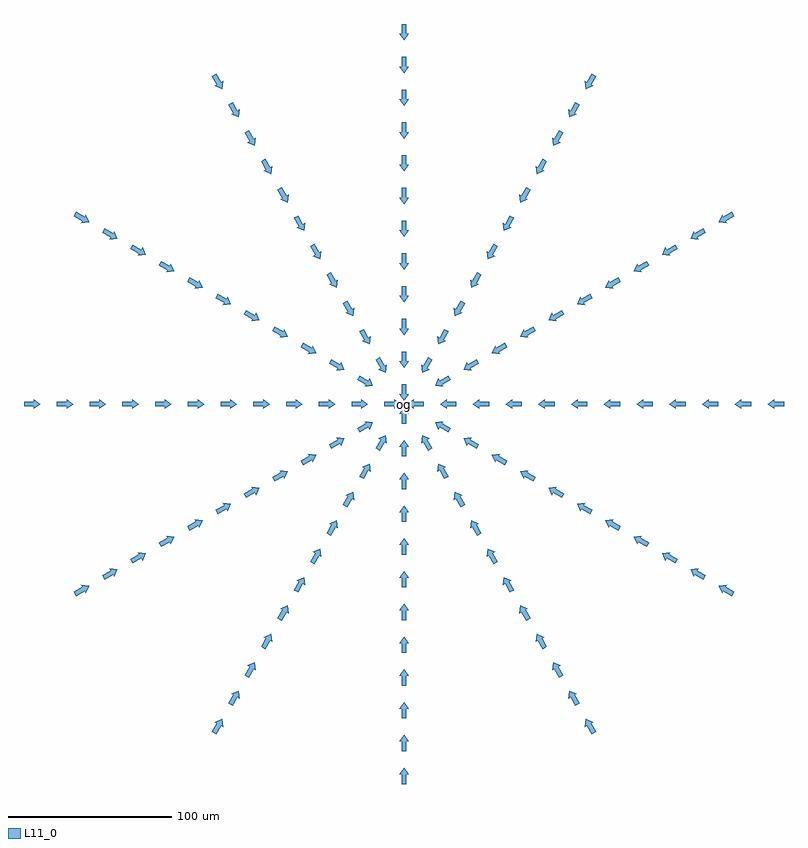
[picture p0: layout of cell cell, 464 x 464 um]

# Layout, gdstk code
import gdstk
lib = gdstk.Library(unit=1e-6, precision=1e-09)
def R(c, l, rs):  # rectangles x0, y0, x1, y1
    for r in rs: c.add(gdstk.rectangle(r[:2], r[2:], *l))
def P(c, l, *ps):  # polygons
    for p in ps: c.add(gdstk.Polygon(p, *l))
L11_0 = (11, 0)

cell = lib.new_cell('cell')
R(cell, L11_0, [(-1,-1,0,0), (0,0,1,1)])
P(cell, L11_0, [(2,0),(6,3),(6,1.5),(12,1.5),(12,-1.5),(6,-1.5),(6,-3)],
  [(0,2),(-3,6),(-1.5,6),(-1.5,12),(1.5,12),(1.5,6),(3,6)],
  [(-2,0),(-6,-3),(-6,-1.5),(-12,-1.5),(-12,1.5),(-6,1.5),(-6,3)],
  [(0,-2),(3,-6),(1.5,-6),(1.5,-12),(-1.5,-12),(-1.5,-6),(-3,-6)],
  [(22,0),(26,3),(26,1.5),(32,1.5),(32,-1.5),(26,-1.5),(26,-3)],
  [(19.053,11),(21.017,15.598),(21.767,14.299),(26.963,17.299),(28.463,14.701),(23.267,11.701),(24.017,10.402)],
  [(11,19.053),(10.402,24.017),(11.701,23.267),(14.701,28.463),(17.299,26.963),(14.299,21.767),(15.598,21.017)],
  [(0,22),(-3,26),(-1.5,26),(-1.5,32),(1.5,32),(1.5,26),(3,26)],
  [(-11,19.053),(-15.598,21.017),(-14.299,21.767),(-17.299,26.963),(-14.701,28.463),(-11.701,23.267),(-10.402,24.017)],
  [(-19.053,11),(-24.017,10.402),(-23.267,11.701),(-28.463,14.701),(-26.963,17.299),(-21.767,14.299),(-21.017,15.598)],
  [(-22,0),(-26,-3),(-26,-1.5),(-32,-1.5),(-32,1.5),(-26,1.5),(-26,3)],
  [(-19.053,-11),(-21.017,-15.598),(-21.767,-14.299),(-26.963,-17.299),(-28.463,-14.701),(-23.267,-11.701),(-24.017,-10.402)],
  [(-11,-19.053),(-10.402,-24.017),(-11.701,-23.267),(-14.701,-28.463),(-17.299,-26.963),(-14.299,-21.767),(-15.598,-21.017)],
  [(0,-22),(3,-26),(1.5,-26),(1.5,-32),(-1.5,-32),(-1.5,-26),(-3,-26)],
  [(11,-19.053),(15.598,-21.017),(14.299,-21.767),(17.299,-26.963),(14.701,-28.463),(11.701,-23.267),(10.402,-24.017)],
  [(19.053,-11),(24.017,-10.402),(23.267,-11.701),(28.463,-14.701),(26.963,-17.299),(21.767,-14.299),(21.017,-15.598)],
  [(42,0),(46,3),(46,1.5),(52,1.5),(52,-1.5),(46,-1.5),(46,-3)],
  [(36.373,21),(38.337,25.598),(39.087,24.299),(44.283,27.299),(45.783,24.701),(40.587,21.701),(41.337,20.402)],
  [(21,36.373),(20.402,41.337),(21.701,40.587),(24.701,45.783),(27.299,44.283),(24.299,39.087),(25.598,38.337)],
  [(0,42),(-3,46),(-1.5,46),(-1.5,52),(1.5,52),(1.5,46),(3,46)],
  [(-21,36.373),(-25.598,38.337),(-24.299,39.087),(-27.299,44.283),(-24.701,45.783),(-21.701,40.587),(-20.402,41.337)],
  [(-36.373,21),(-41.337,20.402),(-40.587,21.701),(-45.783,24.701),(-44.283,27.299),(-39.087,24.299),(-38.337,25.598)],
  [(-42,0),(-46,-3),(-46,-1.5),(-52,-1.5),(-52,1.5),(-46,1.5),(-46,3)],
  [(-36.373,-21),(-38.337,-25.598),(-39.087,-24.299),(-44.283,-27.299),(-45.783,-24.701),(-40.587,-21.701),(-41.337,-20.402)],
  [(-21,-36.373),(-20.402,-41.337),(-21.701,-40.587),(-24.701,-45.783),(-27.299,-44.283),(-24.299,-39.087),(-25.598,-38.337)],
  [(0,-42),(3,-46),(1.5,-46),(1.5,-52),(-1.5,-52),(-1.5,-46),(-3,-46)],
  [(21,-36.373),(25.598,-38.337),(24.299,-39.087),(27.299,-44.283),(24.701,-45.783),(21.701,-40.587),(20.402,-41.337)],
  [(36.373,-21),(41.337,-20.402),(40.587,-21.701),(45.783,-24.701),(44.283,-27.299),(39.087,-24.299),(38.337,-25.598)],
  [(62,0),(66,3),(66,1.5),(72,1.5),(72,-1.5),(66,-1.5),(66,-3)],
  [(53.694,31),(55.658,35.598),(56.408,34.299),(61.604,37.299),(63.104,34.701),(57.908,31.701),(58.658,30.402)],
  [(31,53.694),(30.402,58.658),(31.701,57.908),(34.701,63.104),(37.299,61.604),(34.299,56.408),(35.598,55.658)],
  [(0,62),(-3,66),(-1.5,66),(-1.5,72),(1.5,72),(1.5,66),(3,66)],
  [(-31,53.694),(-35.598,55.658),(-34.299,56.408),(-37.299,61.604),(-34.701,63.104),(-31.701,57.908),(-30.402,58.658)],
  [(-53.694,31),(-58.658,30.402),(-57.908,31.701),(-63.104,34.701),(-61.604,37.299),(-56.408,34.299),(-55.658,35.598)],
  [(-62,0),(-66,-3),(-66,-1.5),(-72,-1.5),(-72,1.5),(-66,1.5),(-66,3)],
  [(-53.694,-31),(-55.658,-35.598),(-56.408,-34.299),(-61.604,-37.299),(-63.104,-34.701),(-57.908,-31.701),(-58.658,-30.402)],
  [(-31,-53.694),(-30.402,-58.658),(-31.701,-57.908),(-34.701,-63.104),(-37.299,-61.604),(-34.299,-56.408),(-35.598,-55.658)],
  [(0,-62),(3,-66),(1.5,-66),(1.5,-72),(-1.5,-72),(-1.5,-66),(-3,-66)],
  [(31,-53.694),(35.598,-55.658),(34.299,-56.408),(37.299,-61.604),(34.701,-63.104),(31.701,-57.908),(30.402,-58.658)],
  [(53.694,-31),(58.658,-30.402),(57.908,-31.701),(63.104,-34.701),(61.604,-37.299),(56.408,-34.299),(55.658,-35.598)],
  [(82,0),(86,3),(86,1.5),(92,1.5),(92,-1.5),(86,-1.5),(86,-3)],
  [(71.014,41),(72.978,45.598),(73.728,44.299),(78.924,47.299),(80.424,44.701),(75.228,41.701),(75.978,40.402)],
  [(41,71.014),(40.402,75.978),(41.701,75.228),(44.701,80.424),(47.299,78.924),(44.299,73.728),(45.598,72.978)],
  [(0,82),(-3,86),(-1.5,86),(-1.5,92),(1.5,92),(1.5,86),(3,86)],
  [(-41,71.014),(-45.598,72.978),(-44.299,73.728),(-47.299,78.924),(-44.701,80.424),(-41.701,75.228),(-40.402,75.978)],
  [(-71.014,41),(-75.978,40.402),(-75.228,41.701),(-80.424,44.701),(-78.924,47.299),(-73.728,44.299),(-72.978,45.598)],
  [(-82,0),(-86,-3),(-86,-1.5),(-92,-1.5),(-92,1.5),(-86,1.5),(-86,3)],
  [(-71.014,-41),(-72.978,-45.598),(-73.728,-44.299),(-78.924,-47.299),(-80.424,-44.701),(-75.228,-41.701),(-75.978,-40.402)],
  [(-41,-71.014),(-40.402,-75.978),(-41.701,-75.228),(-44.701,-80.424),(-47.299,-78.924),(-44.299,-73.728),(-45.598,-72.978)],
  [(0,-82),(3,-86),(1.5,-86),(1.5,-92),(-1.5,-92),(-1.5,-86),(-3,-86)],
  [(41,-71.014),(45.598,-72.978),(44.299,-73.728),(47.299,-78.924),(44.701,-80.424),(41.701,-75.228),(40.402,-75.978)],
  [(71.014,-41),(75.978,-40.402),(75.228,-41.701),(80.424,-44.701),(78.924,-47.299),(73.728,-44.299),(72.978,-45.598)],
  [(102,0),(106,3),(106,1.5),(112,1.5),(112,-1.5),(106,-1.5),(106,-3)],
  [(88.335,51),(90.299,55.598),(91.049,54.299),(96.245,57.299),(97.745,54.701),(92.549,51.701),(93.299,50.402)],
  [(51,88.335),(50.402,93.299),(51.701,92.549),(54.701,97.745),(57.299,96.245),(54.299,91.049),(55.598,90.299)],
  [(0,102),(-3,106),(-1.5,106),(-1.5,112),(1.5,112),(1.5,106),(3,106)],
  [(-51,88.335),(-55.598,90.299),(-54.299,91.049),(-57.299,96.245),(-54.701,97.745),(-51.701,92.549),(-50.402,93.299)],
  [(-88.335,51),(-93.299,50.402),(-92.549,51.701),(-97.745,54.701),(-96.245,57.299),(-91.049,54.299),(-90.299,55.598)],
  [(-102,0),(-106,-3),(-106,-1.5),(-112,-1.5),(-112,1.5),(-106,1.5),(-106,3)],
  [(-88.335,-51),(-90.299,-55.598),(-91.049,-54.299),(-96.245,-57.299),(-97.745,-54.701),(-92.549,-51.701),(-93.299,-50.402)],
  [(-51,-88.335),(-50.402,-93.299),(-51.701,-92.549),(-54.701,-97.745),(-57.299,-96.245),(-54.299,-91.049),(-55.598,-90.299)],
  [(0,-102),(3,-106),(1.5,-106),(1.5,-112),(-1.5,-112),(-1.5,-106),(-3,-106)],
  [(51,-88.335),(55.598,-90.299),(54.299,-91.049),(57.299,-96.245),(54.701,-97.745),(51.701,-92.549),(50.402,-93.299)],
  [(88.335,-51),(93.299,-50.402),(92.549,-51.701),(97.745,-54.701),(96.245,-57.299),(91.049,-54.299),(90.299,-55.598)],
  [(122,0),(126,3),(126,1.5),(132,1.5),(132,-1.5),(126,-1.5),(126,-3)],
  [(105.655,61),(107.619,65.598),(108.369,64.299),(113.565,67.299),(115.065,64.701),(109.869,61.701),(110.619,60.402)],
  [(61,105.655),(60.402,110.619),(61.701,109.869),(64.701,115.065),(67.299,113.565),(64.299,108.369),(65.598,107.619)],
  [(0,122),(-3,126),(-1.5,126),(-1.5,132),(1.5,132),(1.5,126),(3,126)],
  [(-61,105.655),(-65.598,107.619),(-64.299,108.369),(-67.299,113.565),(-64.701,115.065),(-61.701,109.869),(-60.402,110.619)],
  [(-105.655,61),(-110.619,60.402),(-109.869,61.701),(-115.065,64.701),(-113.565,67.299),(-108.369,64.299),(-107.619,65.598)],
  [(-122,0),(-126,-3),(-126,-1.5),(-132,-1.5),(-132,1.5),(-126,1.5),(-126,3)],
  [(-105.655,-61),(-107.619,-65.598),(-108.369,-64.299),(-113.565,-67.299),(-115.065,-64.701),(-109.869,-61.701),(-110.619,-60.402)],
  [(-61,-105.655),(-60.402,-110.619),(-61.701,-109.869),(-64.701,-115.065),(-67.299,-113.565),(-64.299,-108.369),(-65.598,-107.619)],
  [(0,-122),(3,-126),(1.5,-126),(1.5,-132),(-1.5,-132),(-1.5,-126),(-3,-126)],
  [(61,-105.655),(65.598,-107.619),(64.299,-108.369),(67.299,-113.565),(64.701,-115.065),(61.701,-109.869),(60.402,-110.619)],
  [(105.655,-61),(110.619,-60.402),(109.869,-61.701),(115.065,-64.701),(113.565,-67.299),(108.369,-64.299),(107.619,-65.598)],
  [(142,0),(146,3),(146,1.5),(152,1.5),(152,-1.5),(146,-1.5),(146,-3)],
  [(122.976,71),(124.94,75.598),(125.69,74.299),(130.886,77.299),(132.386,74.701),(127.19,71.701),(127.94,70.402)],
  [(71,122.976),(70.402,127.94),(71.701,127.19),(74.701,132.386),(77.299,130.886),(74.299,125.69),(75.598,124.94)],
  [(0,142),(-3,146),(-1.5,146),(-1.5,152),(1.5,152),(1.5,146),(3,146)],
  [(-71,122.976),(-75.598,124.94),(-74.299,125.69),(-77.299,130.886),(-74.701,132.386),(-71.701,127.19),(-70.402,127.94)],
  [(-122.976,71),(-127.94,70.402),(-127.19,71.701),(-132.386,74.701),(-130.886,77.299),(-125.69,74.299),(-124.94,75.598)],
  [(-142,0),(-146,-3),(-146,-1.5),(-152,-1.5),(-152,1.5),(-146,1.5),(-146,3)],
  [(-122.976,-71),(-124.94,-75.598),(-125.69,-74.299),(-130.886,-77.299),(-132.386,-74.701),(-127.19,-71.701),(-127.94,-70.402)],
  [(-71,-122.976),(-70.402,-127.94),(-71.701,-127.19),(-74.701,-132.386),(-77.299,-130.886),(-74.299,-125.69),(-75.598,-124.94)],
  [(0,-142),(3,-146),(1.5,-146),(1.5,-152),(-1.5,-152),(-1.5,-146),(-3,-146)],
  [(71,-122.976),(75.598,-124.94),(74.299,-125.69),(77.299,-130.886),(74.701,-132.386),(71.701,-127.19),(70.402,-127.94)],
  [(122.976,-71),(127.94,-70.402),(127.19,-71.701),(132.386,-74.701),(130.886,-77.299),(125.69,-74.299),(124.94,-75.598)],
  [(162,0),(166,3),(166,1.5),(172,1.5),(172,-1.5),(166,-1.5),(166,-3)],
  [(140.296,81),(142.26,85.598),(143.01,84.299),(148.206,87.299),(149.706,84.701),(144.51,81.701),(145.26,80.402)],
  [(81,140.296),(80.402,145.26),(81.701,144.51),(84.701,149.706),(87.299,148.206),(84.299,143.01),(85.598,142.26)],
  [(0,162),(-3,166),(-1.5,166),(-1.5,172),(1.5,172),(1.5,166),(3,166)],
  [(-81,140.296),(-85.598,142.26),(-84.299,143.01),(-87.299,148.206),(-84.701,149.706),(-81.701,144.51),(-80.402,145.26)],
  [(-140.296,81),(-145.26,80.402),(-144.51,81.701),(-149.706,84.701),(-148.206,87.299),(-143.01,84.299),(-142.26,85.598)],
  [(-162,0),(-166,-3),(-166,-1.5),(-172,-1.5),(-172,1.5),(-166,1.5),(-166,3)],
  [(-140.296,-81),(-142.26,-85.598),(-143.01,-84.299),(-148.206,-87.299),(-149.706,-84.701),(-144.51,-81.701),(-145.26,-80.402)],
  [(-81,-140.296),(-80.402,-145.26),(-81.701,-144.51),(-84.701,-149.706),(-87.299,-148.206),(-84.299,-143.01),(-85.598,-142.26)],
  [(0,-162),(3,-166),(1.5,-166),(1.5,-172),(-1.5,-172),(-1.5,-166),(-3,-166)],
  [(81,-140.296),(85.598,-142.26),(84.299,-143.01),(87.299,-148.206),(84.701,-149.706),(81.701,-144.51),(80.402,-145.26)],
  [(140.296,-81),(145.26,-80.402),(144.51,-81.701),(149.706,-84.701),(148.206,-87.299),(143.01,-84.299),(142.26,-85.598)],
  [(182,0),(186,3),(186,1.5),(192,1.5),(192,-1.5),(186,-1.5),(186,-3)],
  [(157.617,91),(159.581,95.598),(160.331,94.299),(165.527,97.299),(167.027,94.701),(161.831,91.701),(162.581,90.402)],
  [(91,157.617),(90.402,162.581),(91.701,161.831),(94.701,167.027),(97.299,165.527),(94.299,160.331),(95.598,159.581)],
  [(0,182),(-3,186),(-1.5,186),(-1.5,192),(1.5,192),(1.5,186),(3,186)],
  [(-91,157.617),(-95.598,159.581),(-94.299,160.331),(-97.299,165.527),(-94.701,167.027),(-91.701,161.831),(-90.402,162.581)],
  [(-157.617,91),(-162.581,90.402),(-161.831,91.701),(-167.027,94.701),(-165.527,97.299),(-160.331,94.299),(-159.581,95.598)],
  [(-182,0),(-186,-3),(-186,-1.5),(-192,-1.5),(-192,1.5),(-186,1.5),(-186,3)],
  [(-157.617,-91),(-159.581,-95.598),(-160.331,-94.299),(-165.527,-97.299),(-167.027,-94.701),(-161.831,-91.701),(-162.581,-90.402)],
  [(-91,-157.617),(-90.402,-162.581),(-91.701,-161.831),(-94.701,-167.027),(-97.299,-165.527),(-94.299,-160.331),(-95.598,-159.581)],
  [(0,-182),(3,-186),(1.5,-186),(1.5,-192),(-1.5,-192),(-1.5,-186),(-3,-186)],
  [(91,-157.617),(95.598,-159.581),(94.299,-160.331),(97.299,-165.527),(94.701,-167.027),(91.701,-161.831),(90.402,-162.581)],
  [(157.617,-91),(162.581,-90.402),(161.831,-91.701),(167.027,-94.701),(165.527,-97.299),(160.331,-94.299),(159.581,-95.598)],
  [(202,0),(206,3),(206,1.5),(212,1.5),(212,-1.5),(206,-1.5),(206,-3)],
  [(174.937,101),(176.901,105.598),(177.651,104.299),(182.847,107.299),(184.347,104.701),(179.151,101.701),(179.901,100.402)],
  [(101,174.937),(100.402,179.901),(101.701,179.151),(104.701,184.347),(107.299,182.847),(104.299,177.651),(105.598,176.901)],
  [(0,202),(-3,206),(-1.5,206),(-1.5,212),(1.5,212),(1.5,206),(3,206)],
  [(-101,174.937),(-105.598,176.901),(-104.299,177.651),(-107.299,182.847),(-104.701,184.347),(-101.701,179.151),(-100.402,179.901)],
  [(-174.937,101),(-179.901,100.402),(-179.151,101.701),(-184.347,104.701),(-182.847,107.299),(-177.651,104.299),(-176.901,105.598)],
  [(-202,0),(-206,-3),(-206,-1.5),(-212,-1.5),(-212,1.5),(-206,1.5),(-206,3)],
  [(-174.937,-101),(-176.901,-105.598),(-177.651,-104.299),(-182.847,-107.299),(-184.347,-104.701),(-179.151,-101.701),(-179.901,-100.402)],
  [(-101,-174.937),(-100.402,-179.901),(-101.701,-179.151),(-104.701,-184.347),(-107.299,-182.847),(-104.299,-177.651),(-105.598,-176.901)],
  [(0,-202),(3,-206),(1.5,-206),(1.5,-212),(-1.5,-212),(-1.5,-206),(-3,-206)],
  [(101,-174.937),(105.598,-176.901),(104.299,-177.651),(107.299,-182.847),(104.701,-184.347),(101.701,-179.151),(100.402,-179.901)],
  [(174.937,-101),(179.901,-100.402),(179.151,-101.701),(184.347,-104.701),(182.847,-107.299),(177.651,-104.299),(176.901,-105.598)],
  [(222,0),(226,3),(226,1.5),(232,1.5),(232,-1.5),(226,-1.5),(226,-3)],
  [(192.258,111),(194.222,115.598),(194.972,114.299),(200.168,117.299),(201.668,114.701),(196.472,111.701),(197.222,110.402)],
  [(111,192.258),(110.402,197.222),(111.701,196.472),(114.701,201.668),(117.299,200.168),(114.299,194.972),(115.598,194.222)],
  [(0,222),(-3,226),(-1.5,226),(-1.5,232),(1.5,232),(1.5,226),(3,226)],
  [(-111,192.258),(-115.598,194.222),(-114.299,194.972),(-117.299,200.168),(-114.701,201.668),(-111.701,196.472),(-110.402,197.222)],
  [(-192.258,111),(-197.222,110.402),(-196.472,111.701),(-201.668,114.701),(-200.168,117.299),(-194.972,114.299),(-194.222,115.598)],
  [(-222,0),(-226,-3),(-226,-1.5),(-232,-1.5),(-232,1.5),(-226,1.5),(-226,3)],
  [(-192.258,-111),(-194.222,-115.598),(-194.972,-114.299),(-200.168,-117.299),(-201.668,-114.701),(-196.472,-111.701),(-197.222,-110.402)],
  [(-111,-192.258),(-110.402,-197.222),(-111.701,-196.472),(-114.701,-201.668),(-117.299,-200.168),(-114.299,-194.972),(-115.598,-194.222)],
  [(0,-222),(3,-226),(1.5,-226),(1.5,-232),(-1.5,-232),(-1.5,-226),(-3,-226)],
  [(111,-192.258),(115.598,-194.222),(114.299,-194.972),(117.299,-200.168),(114.701,-201.668),(111.701,-196.472),(110.402,-197.222)],
  [(192.258,-111),(197.222,-110.402),(196.472,-111.701),(201.668,-114.701),(200.168,-117.299),(194.972,-114.299),(194.222,-115.598)])
cell.add(gdstk.Label('og', (0,0), layer=0, texttype=0))

lib.write_gds('cell.gds')
